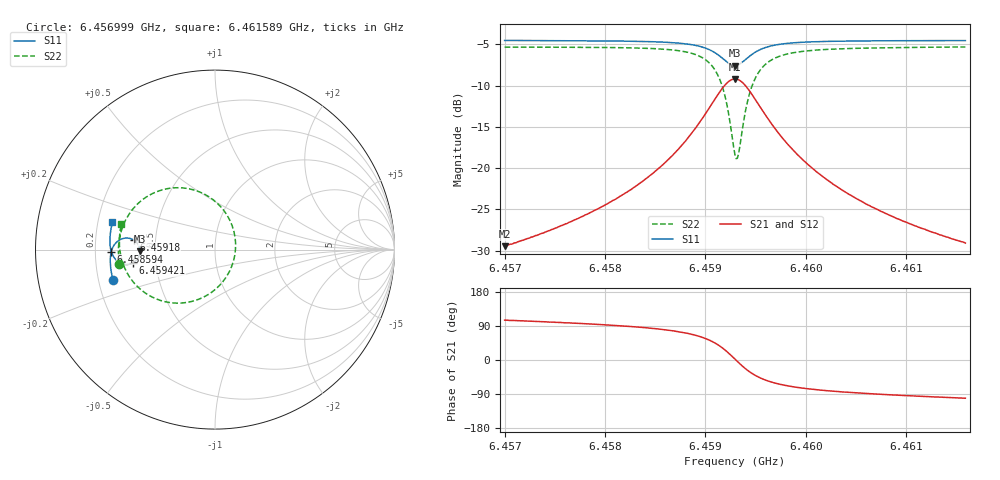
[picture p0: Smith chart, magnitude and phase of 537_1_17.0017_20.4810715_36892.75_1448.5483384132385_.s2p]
#  HZ  S  RI  R  50.00
! Rohde & Schwarz Vector Network Analyzer
! Rohde-Schwarz,ZNB20-2Port,1311601062101988,3.16
! Created: UTC 3/20/2024, 11:16:08 PM
! freq[Hz]  re:S11  im:S11  re:S21  im:S21  re:S12  im:S12  re:S22  im:S22
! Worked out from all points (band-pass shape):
!   401 points, 6.456999 GHz to 6.461589 GHz, reference 50 ohm
!   highest |S21| = -9.20 dB at 6.459294 GHz (marker M1); lowest = -29.4 dB at 6.456999 GHz (marker M2)
!   |S21| within 3 dB of the highest: 6.459065 GHz to 6.459524 GHz (458.8 kHz wide, 0.0071 % of centre)
!   lowest |S11| = -7.6 dB at 6.459294 GHz (marker M3), VSWR 2.44, Z = 20.5 - j0.465 ohm
!   |S11| at or under -10 dB: nowhere
!   |S22| runs from -18.8 to -5.3 dB; largest |S21 - S12| = 0.014
!   S11 on the Smith chart (normalised r, x): 6.456999 GHz: 0.26, -0.14; 6.458594 GHz: 0.27, -0.01; 6.45918 GHz: 0.37, +0.05; 6.459421 GHz: 0.37, -0.07; 6.461589 GHz: 0.26, +0.12
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6.4569993e9  -0.5671 -0.1706  -0.0088 0.0326  -0.00709 0.0325  -0.5331 -0.0828
6.4577681e9  -0.5811 -0.1032  -0.00548 0.0506  -0.00293 0.0499  -0.5382 0.00727
6.4582386e9  -0.5837 -0.0556  0.00167 0.073  0.00505 0.0716  -0.5278 0.0837
6.458537e9  -0.5799 -0.0194  0.0145 0.099  0.0185 0.0963  -0.504 0.1527
6.4585943e9  -0.578 -0.0115  0.019 0.1059  0.023 0.1028  -0.4958 0.1693
6.4588009e9  -0.565 0.0205  0.0465 0.1382  0.0507 0.1333  -0.4438 0.242
6.4589501e9  -0.5422 0.0468  0.092 0.1688  0.0952 0.162  -0.3597 0.3065
6.4590878e9  -0.4982 0.0643  0.1795 0.1851  0.1804 0.1778  -0.1999 0.3447
6.4591796e9  -0.4536 0.0539  0.2695 0.1536  0.2698 0.1478  -0.0328 0.2937
6.4592484e9  -0.4245 0.0218  0.33 0.0815  0.3324 0.0762  0.0828 0.1633
6.4592943e9  -0.4177 -0.00934  0.3464 0.0134  0.35 0.00639  0.1148 0.0359
6.4593058e9  -0.4181 -0.0175  0.3462 -0.00462  0.3501 -0.0123  0.1141 0.00198
6.4593288e9  -0.4216 -0.033  0.3404 -0.0392  0.3443 -0.0485  0.1029 -0.0641
6.4593747e9  -0.4373 -0.0592  0.3117 -0.0994  0.3139 -0.1113  0.0447 -0.1774
6.4594206e9  -0.4595 -0.0754  0.2694 -0.1404  0.2685 -0.1537  -0.041 -0.2524
6.4595124e9  -0.503 -0.0822  0.1843 -0.1714  0.178 -0.183  -0.2108 -0.2983
6.4596615e9  -0.5468 -0.0617  0.0962 -0.1572  0.0877 -0.1635  -0.3789 -0.2481
6.4598222e9  -0.5683 -0.0339  0.0512 -0.1291  0.0436 -0.132  -0.4595 -0.1754
6.4600632e9  -0.581 0.00155  0.0221 -0.0974  0.0162 -0.098  -0.5073 -0.0926
6.4604074e9  -0.5855 0.0425  0.00623 -0.0706  0.00198 -0.0701  -0.5286 -0.0132
6.460832e9  -0.5835 0.0853  -0.00155 -0.0519  -0.00444 -0.0511  -0.5327 0.055
6.4615893e9  -0.5712 0.1524  -0.00665 -0.0346  -0.00829 -0.0337  -0.5212 0.1445
